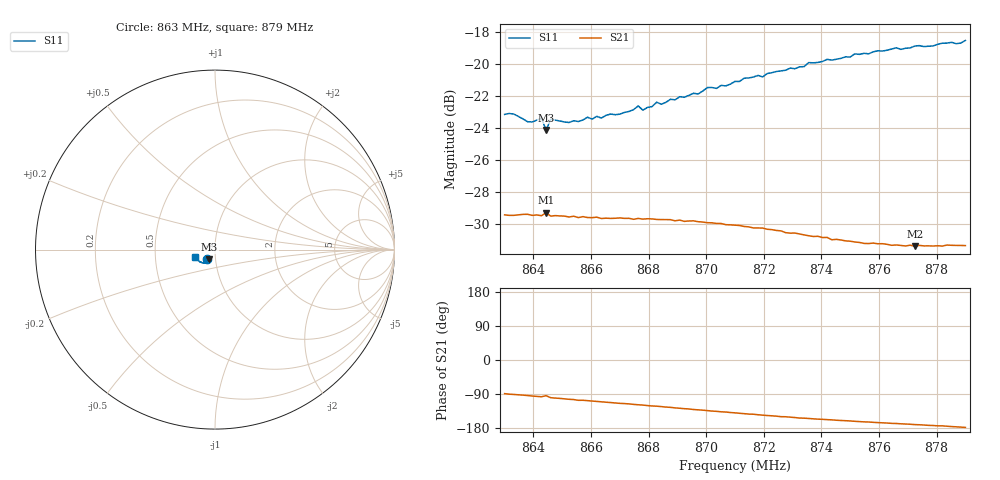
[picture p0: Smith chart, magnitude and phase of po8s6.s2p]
# HZ S RI R 50
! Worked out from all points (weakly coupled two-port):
!   101 points, 863 MHz to 879 MHz, reference 50 ohm
!   highest |S21| = -29.27 dB at 864.44 MHz (marker M1); lowest = -31.4 dB at 877.24 MHz (marker M2)
!   lowest |S11| = -24.1 dB at 864.44 MHz (marker M3), VSWR 1.13, Z = 46.7 - j5.08 ohm
!   |S11| at or under -10 dB: start of sweep to end of sweep
!   S12 and S22 are empty: the file has one direction only
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8.63e8  -0.0445 -0.0537  0.000733 -0.0339  0 0  0 0
8.6332e8  -0.0432 -0.0548  -0.000537 -0.0338  0 0  0 0
8.638e8  -0.0406 -0.0522  -0.00227 -0.0339  0 0  0 0
8.6428e8  -0.0385 -0.056  -0.00412 -0.0334  0 0  0 0
8.6444e8  -0.0308 -0.0541  -0.00246 -0.0343  0 0  0 0
8.646e8  -0.0378 -0.0556  -0.00555 -0.0331  0 0  0 0
8.6524e8  -0.036 -0.0551  -0.00789 -0.0324  0 0  0 0
8.6572e8  -0.0362 -0.0563  -0.00937 -0.0321  0 0  0 0
8.67e8  -0.034 -0.061  -0.0137 -0.0302  0 0  0 0
8.6764e8  -0.0364 -0.0645  -0.0156 -0.0291  0 0  0 0
8.678e8  -0.0351 -0.0627  -0.0159 -0.0288  0 0  0 0
8.6828e8  -0.0365 -0.0668  -0.0173 -0.0278  0 0  0 0
8.6844e8  -0.0363 -0.0656  -0.0178 -0.0275  0 0  0 0
8.6876e8  -0.0377 -0.0679  -0.0188 -0.0268  0 0  0 0
8.6972e8  -0.0408 -0.0696  -0.0214 -0.0241  0 0  0 0
8.7004e8  -0.0439 -0.0722  -0.0221 -0.0232  0 0  0 0
8.7036e8  -0.0438 -0.0716  -0.0227 -0.0223  0 0  0 0
8.71e8  -0.048 -0.0741  -0.0239 -0.0205  0 0  0 0
8.7372e8  -0.0685 -0.0741  -0.0263 -0.0122  0 0  0 0
8.7644e8  -0.0926 -0.0619  -0.0266 -0.00603  0 0  0 0
8.7724e8  -0.0987 -0.0567  -0.0267 -0.00449  0 0  0 0
8.79e8  -0.112 -0.0388  -0.0272 -0.000992  0 0  0 0
